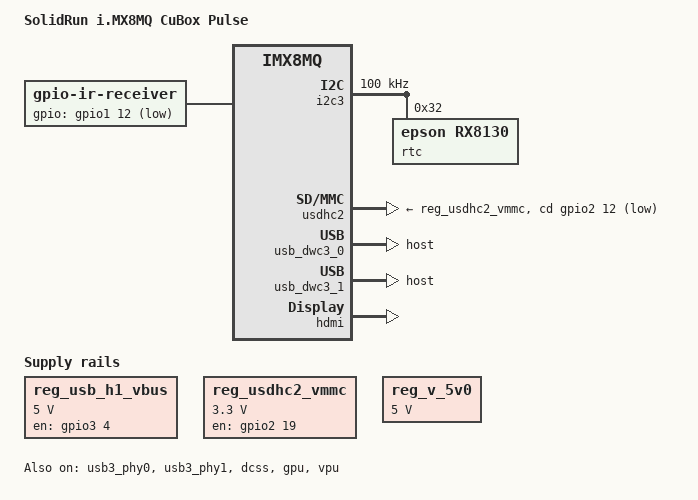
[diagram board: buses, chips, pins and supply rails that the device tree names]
// SPDX-License-Identifier: (GPL-2.0 OR MIT)
/*
 * Copyright (C) 2018 Jon Nettleton <jon@solid-run.com>
 * Copyright (C) 2020 Josua Mayer <josua@solid-run.com>
 */

/dts-v1/;

#include "dt-bindings/usb/pd.h"
#include "imx8mq-sr-som.dtsi"

/ {
	model = "SolidRun i.MX8MQ CuBox Pulse";
	compatible = "solidrun,cubox-pulse", "fsl,imx8mq";

	chosen {
		stdout-path = &uart1;
	};

	ir-receiver {
		compatible = "gpio-ir-receiver";
		gpios = <&gpio1 12 GPIO_ACTIVE_LOW>;
		pinctrl-names = "default";
		pinctrl-0 = <&pinctrl_ir_recv>;
	};

	reg_usb_h1_vbus: usb_h1_vbus {
		compatible = "regulator-fixed";
		pinctrl-names = "default";
		pinctrl-0 = <&pinctrl_usbh1_vbus>;
		regulator-name = "usb_h1_vbus";
		regulator-min-microvolt = <5000000>;
		regulator-max-microvolt = <5000000>;
		gpio = <&gpio3 4 GPIO_ACTIVE_HIGH>;
		enable-active-high;

		/* HACK: dwc3 driver doesn't enable specified vbus-supply, so it has to be forced on here ... */
		regulator-always-on;
	};

	reg_usdhc2_vmmc: regulator-usdhc2-vmmc {
		compatible = "regulator-fixed";
		pinctrl-names = "default";
		pinctrl-0 = <&pinctrl_usdhc2_vmmc>;
		regulator-name = "VSD_3V3";
		regulator-min-microvolt = <3300000>;
		regulator-max-microvolt = <3300000>;
		gpio = <&gpio2 19 GPIO_ACTIVE_HIGH>;
		enable-active-high;
	};

	reg_v_5v0: regulator-v-5v0 {
		compatible = "regulator-fixed";
		regulator-name = "v_5v0";
		regulator-max-microvolt = <5000000>;
		regulator-min-microvolt = <5000000>;
		regulator-always-on;
	};
};

&i2c3 {
	pinctrl-names = "default";
	pinctrl-0 = <&pinctrl_i2c3>;
	clock-frequency = <100000>;
	status = "okay";

	rtc@32 {
		compatible = "epson,rx8130";
		reg = <0x32>;
	};
};

&usdhc2 {
	assigned-clocks = <&clk IMX8MQ_CLK_USDHC2>;
	assigned-clock-rates = <200000000>;
	pinctrl-names = "default", "state_100mhz", "state_200mhz";
	pinctrl-0 = <&pinctrl_usdhc2>, <&pinctrl_usdhc2_gpio>;
	pinctrl-1 = <&pinctrl_usdhc2_100mhz>, <&pinctrl_usdhc2_gpio>;
	pinctrl-2 = <&pinctrl_usdhc2_200mhz>, <&pinctrl_usdhc2_gpio>;
	cd-gpios = <&gpio2 12 GPIO_ACTIVE_LOW>;
	vmmc-supply = <&reg_usdhc2_vmmc>;
	status = "okay";
};

&usb_dwc3_0 {
	dr_mode = "host";
	status = "okay";

	/* TODO: support OTG? */
};

&usb_dwc3_1 {
	dr_mode = "host";
	status = "okay";
};

&usb3_phy0 {
	vbus-supply = <&reg_usb_h1_vbus>;
	status = "okay";
};

&usb3_phy1 {
	vbus-supply = <&reg_usb_h1_vbus>;
	status = "okay";
};

&iomuxc {
	pinctrl_i2c3: i2c3grp {
		fsl,pins = <
			MX8MQ_IOMUXC_I2C3_SCL_I2C3_SCL		0x4000007f
			MX8MQ_IOMUXC_I2C3_SDA_I2C3_SDA		0x4000007f
		>;
	};

	pinctrl_ir_recv: ir_recv {
		fsl,pins = <
			MX8MQ_IOMUXC_GPIO1_IO12_GPIO1_IO12		0x4f
		>;
	};

	pinctrl_usbh1_vbus: usbh1-vbus {
		fsl,pins = <MX8MQ_IOMUXC_NAND_CE3_B_GPIO3_IO4	0x41>;
	};

	pinctrl_usdhc2_gpio: usdhc2grpgpio {
		fsl,pins = <
			MX8MQ_IOMUXC_SD2_CD_B_GPIO2_IO12	0x41
		>;
	};

	pinctrl_usdhc2_vmmc: usdhc2vmmcgpio {
		fsl,pins = <
			MX8MQ_IOMUXC_SD2_RESET_B_GPIO2_IO19	0x41
		>;
	};

	pinctrl_usdhc2: usdhc2grp {
		fsl,pins = <
			MX8MQ_IOMUXC_SD2_CLK_USDHC2_CLK			0x83
			MX8MQ_IOMUXC_SD2_CMD_USDHC2_CMD			0xc3
			MX8MQ_IOMUXC_SD2_DATA0_USDHC2_DATA0		0xc3
			MX8MQ_IOMUXC_SD2_DATA1_USDHC2_DATA1		0xc3
			MX8MQ_IOMUXC_SD2_DATA2_USDHC2_DATA2		0xc3
			MX8MQ_IOMUXC_SD2_DATA3_USDHC2_DATA3		0xc3
			MX8MQ_IOMUXC_GPIO1_IO04_USDHC2_VSELECT		0xc1
		>;
	};

	pinctrl_usdhc2_100mhz: usdhc2grp100mhz {
		fsl,pins = <
			MX8MQ_IOMUXC_SD2_CLK_USDHC2_CLK			0x8d
			MX8MQ_IOMUXC_SD2_CMD_USDHC2_CMD			0xcd
			MX8MQ_IOMUXC_SD2_DATA0_USDHC2_DATA0		0xcd
			MX8MQ_IOMUXC_SD2_DATA1_USDHC2_DATA1		0xcd
			MX8MQ_IOMUXC_SD2_DATA2_USDHC2_DATA2		0xcd
			MX8MQ_IOMUXC_SD2_DATA3_USDHC2_DATA3		0xcd
			MX8MQ_IOMUXC_GPIO1_IO04_USDHC2_VSELECT		0xc1
		>;
	};

	pinctrl_usdhc2_200mhz: usdhc2grp200mhz {
		fsl,pins = <
			MX8MQ_IOMUXC_SD2_CLK_USDHC2_CLK			0x9f
			MX8MQ_IOMUXC_SD2_CMD_USDHC2_CMD			0xdf
			MX8MQ_IOMUXC_SD2_DATA0_USDHC2_DATA0		0xdf
			MX8MQ_IOMUXC_SD2_DATA1_USDHC2_DATA1		0xdf
			MX8MQ_IOMUXC_SD2_DATA2_USDHC2_DATA2		0xdf
			MX8MQ_IOMUXC_SD2_DATA3_USDHC2_DATA3		0xdf
			MX8MQ_IOMUXC_GPIO1_IO04_USDHC2_VSELECT		0xc1
		>;
	};
};

&dcss {
	disp-dev = "hdmi_disp";
	status = "okay";
};

&hdmi {
	status = "okay";
};

&gpu {
	status = "okay";
};

&vpu {
	status = "okay";
};
